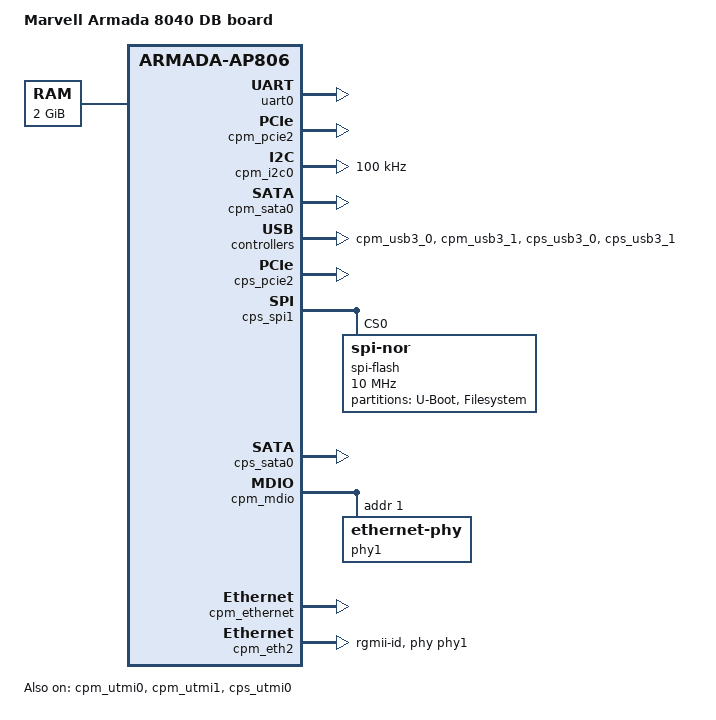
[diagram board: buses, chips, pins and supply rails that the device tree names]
/*
 * Copyright (C) 2016 Marvell Technology Group Ltd.
 *
 * This file is dual-licensed: you can use it either under the terms
 * of the GPLv2 or the X11 license, at your option. Note that this dual
 * licensing only applies to this file, and not this project as a
 * whole.
 *
 *  a) This library is free software; you can redistribute it and/or
 *     modify it under the terms of the GNU General Public License as
 *     published by the Free Software Foundation; either version 2 of the
 *     License, or (at your option) any later version.
 *
 *     This library is distributed in the hope that it will be useful,
 *     but WITHOUT ANY WARRANTY; without even the implied warranty of
 *     MERCHANTABILITY or FITNESS FOR A PARTICULAR PURPOSE.  See the
 *     GNU General Public License for more details.
 *
 * Or, alternatively,
 *
 *  b) Permission is hereby granted, free of charge, to any person
 *     obtaining a copy of this software and associated documentation
 *     files (the "Software"), to deal in the Software without
 *     restriction, including without limitation the rights to use,
 *     copy, modify, merge, publish, distribute, sublicense, and/or
 *     sell copies of the Software, and to permit persons to whom the
 *     Software is furnished to do so, subject to the following
 *     conditions:
 *
 *     The above copyright notice and this permission notice shall be
 *     included in all copies or substantial portions of the Software.
 *
 *     THE SOFTWARE IS PROVIDED "AS IS", WITHOUT WARRANTY OF ANY KIND,
 *     EXPRESS OR IMPLIED, INCLUDING BUT NOT LIMITED TO THE WARRANTIES
 *     OF MERCHANTABILITY, FITNESS FOR A PARTICULAR PURPOSE AND
 *     NONINFRINGEMENT. IN NO EVENT SHALL THE AUTHORS OR COPYRIGHT
 *     HOLDERS BE LIABLE FOR ANY CLAIM, DAMAGES OR OTHER LIABILITY,
 *     WHETHER IN AN ACTION OF CONTRACT, TORT OR OTHERWISE, ARISING
 *     FROM, OUT OF OR IN CONNECTION WITH THE SOFTWARE OR THE USE OR
 *     OTHER DEALINGS IN THE SOFTWARE.
 */

/*
 * Device Tree file for Marvell Armada 8040 Development board platform
 */

#include "armada-8040.dtsi"

/ {
	model = "Marvell Armada 8040 DB board";
	compatible = "marvell,armada8040-db", "marvell,armada8040",
		     "marvell,armada-ap806-quad", "marvell,armada-ap806";

	chosen {
		stdout-path = "serial0:115200n8";
	};

	aliases {
		i2c0 = &cpm_i2c0;
		spi0 = &cps_spi1;
	};

	memory@00000000 {
		device_type = "memory";
		reg = <0x0 0x0 0x0 0x80000000>;
	};
};

/* Accessible over the mini-USB CON9 connector on the main board */
&uart0 {
	status = "okay";
};

&ap_pinctl {
	/* MPP Bus:
	 * SDIO  [0-10]
	 * UART0 [11,19]
	 */
		  /* 0 1 2 3 4 5 6 7 8 9 */
	pin-func = < 1 1 1 1 1 1 1 1 1 1
		     1 3 0 0 0 0 0 0 0 3 >;
};

&cpm_pinctl {
	/* MPP Bus:
	 * [0-31] = 0xff: Keep default CP0_shared_pins:
	 * [11] CLKOUT_MPP_11 (out)
	 * [23] LINK_RD_IN_CP2CP (in)
	 * [25] CLKOUT_MPP_25 (out)
	 * [29] AVS_FB_IN_CP2CP (in)
	 * [32,34] SMI
	 * [31]    GPIO: push button/Wake
	 * [35-36] GPIO
	 * [37-38] I2C
	 * [40-41] SATA[0/1]_PRESENT_ACTIVEn
	 * [42-43] XSMI
	 * [44-55] RGMII1
	 * [56-62] SD
	 */
		/*   0    1    2    3    4    5    6    7    8    9 */
	pin-func = < 0xff 0xff 0xff 0xff 0xff 0xff 0xff 0xff 0xff 0xff
		     0xff 0xff 0xff 0xff 0xff 0xff 0xff 0xff 0xff 0xff
		     0xff 0xff 0xff 0xff 0xff 0xff 0xff 0xff 0xff 0xff
		     0xff 0    7    0    7    0    0    2    2    0
		     0    0    8    8    1    1    1    1    1    1
		     1    1    1    1    1    1    0xe  0xe  0xe  0xe
		     0xe  0xe  0xe >;
};

/* CON5 on CP0 expansion */
&cpm_pcie2 {
	status = "okay";
};

&cpm_i2c0 {
	pinctrl-names = "default";
	pinctrl-0 = <&cpm_i2c0_pins>;
	status = "okay";
	clock-frequency = <100000>;
};

/* CON4 on CP0 expansion */
&cpm_sata0 {
	status = "okay";
};

/* CON9 on CP0 expansion */
&cpm_usb3_0 {
	status = "okay";
};

/* CON10 on CP0 expansion */
&cpm_usb3_1 {
	status = "okay";
};

&cps_pinctl {
	/* MPP Bus:
	 * [0-11]  RGMII0
	 * [13-16] SPI1
	 * [27,31] GE_MDIO/MDC
	 * [32-62] = 0xff: Keep default CP1_shared_pins:
	 */
		/*   0    1    2    3    4    5    6    7    8    9 */
	pin-func = < 0x3  0x3  0x3  0x3  0x3  0x3  0x3  0x3  0x3  0x3
		     0x3  0x3  0xff 0x3  0x3  0x3  0x3  0xff 0xff 0xff
		     0xff 0xff 0xff 0xff 0xff 0xff 0xff 0x8  0xff 0xff
		     0xff 0x8  0xff 0xff 0xff 0xff 0xff 0xff 0xff 0xff
		     0xff 0xff 0xff 0xff 0xff 0xff 0xff 0xff 0xff 0xff
		     0xff 0xff 0xff 0xff 0xff 0xff 0xff 0xff 0xff 0xff
		     0xff 0xff 0xff >;
};

/* CON5 on CP1 expansion */
&cps_pcie2 {
	status = "okay";
};

&cps_spi1 {
	pinctrl-names = "default";
	pinctrl-0 = <&cps_spi1_pins>;
	status = "okay";

	spi-flash@0 {
		#address-cells = <1>;
		#size-cells = <1>;
		compatible = "jedec,spi-nor";
		reg = <0>;
		spi-max-frequency = <10000000>;

		partitions {
			compatible = "fixed-partitions";
			#address-cells = <1>;
			#size-cells = <1>;

			partition@0 {
				label = "U-Boot";
				reg = <0 0x200000>;
			};
			partition@400000 {
				label = "Filesystem";
				reg = <0x200000 0xce0000>;
			};
		};
	};
};

/* CON4 on CP1 expansion */
&cps_sata0 {
	status = "okay";
};

/* CON9 on CP1 expansion */
&cps_usb3_0 {
	status = "okay";
};

/* CON10 on CP1 expansion */
&cps_usb3_1 {
	status = "okay";
};

&cpm_comphy {
	/*
	 * Serdes Configuration:
	 * Lane 0: SGMII2
	 * Lane 1: USB3_HOST0
	 * Lane 2: KR (10G)
	 * Lane 3: SATA1
	 * Lane 4: USB3_HOST1
	 * Lane 5: PEX2x1
	 */
	phy0 {
		phy-type = <PHY_TYPE_SGMII2>;
		phy-speed = <PHY_SPEED_3_125G>;
	};

	phy1 {
		phy-type = <PHY_TYPE_USB3_HOST0>;
	};

	phy2 {
		phy-type = <PHY_TYPE_KR>;
	};

	phy3 {
		phy-type = <PHY_TYPE_SATA1>;
	};

	phy4 {
		phy-type = <PHY_TYPE_USB3_HOST1>;
	};

	phy5 {
		phy-type = <PHY_TYPE_PEX2>;
	};
};

&cps_comphy {
	/*
	 * Serdes Configuration:
	 * Lane 0: SGMII2
	 * Lane 1: USB3_HOST0
	 * Lane 2: KR (10G)
	 * Lane 3: SATA1
	 * Lane 4: Unconnected
	 * Lane 5: PEX2x1
	 */
	phy0 {
		phy-type = <PHY_TYPE_SGMII2>;
		phy-speed = <PHY_SPEED_3_125G>;
	};

	phy1 {
		phy-type = <PHY_TYPE_USB3_HOST0>;
	};

	phy2 {
		phy-type = <PHY_TYPE_KR>;
	};

	phy3 {
		phy-type = <PHY_TYPE_SATA1>;
	};

	phy4 {
		phy-type = <PHY_TYPE_UNCONNECTED>;
	};

	phy5 {
		phy-type = <PHY_TYPE_PEX2>;
	};
};

&cpm_utmi0 {
	status = "okay";
};

&cpm_utmi1 {
	status = "okay";
};

&cps_utmi0 {
	status = "okay";
};

&cpm_mdio {
	phy1: ethernet-phy@1 {
		reg = <1>;
	};
};

&cpm_ethernet {
	status = "okay";
};

&cpm_eth2 {
	status = "okay";
	phy = <&phy1>;
	phy-mode = "rgmii-id";
};
